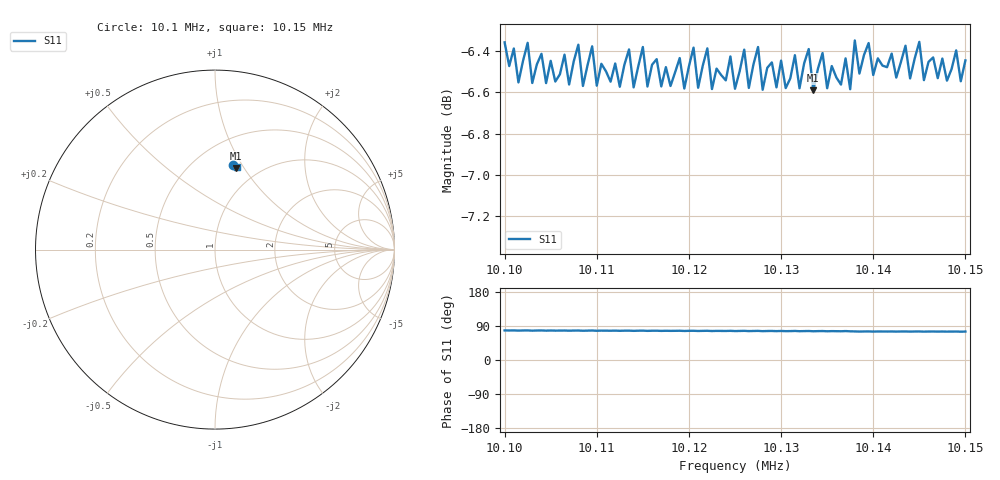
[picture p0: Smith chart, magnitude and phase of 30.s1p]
# Hz S RI R 50
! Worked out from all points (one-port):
!   101 points, 10.1 MHz to 10.15 MHz, reference 50 ohm
!   lowest |S11| = -6.6 dB at 10.1335 MHz (marker M1), VSWR 2.76, Z = 39.4 + j45.8 ohm
!   |S11| at or under -10 dB: nowhere
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1.01e7  0.0991 0.4707
1.01015e7  0.1013 0.4593
1.01025e7  0.0993 0.4705
1.0103e7  0.1023 0.4589
1.01065e7  0.1011 0.4669
1.01125e7  0.1051 0.4573
1.01135e7  0.104 0.4677
1.0114e7  0.106 0.4569
1.0115e7  0.1038 0.4684
1.01155e7  0.1065 0.457
1.0119e7  0.1057 0.4649
1.01245e7  0.1077 0.4649
1.0125e7  0.1105 0.4555
1.0126e7  0.108 0.4667
1.01265e7  0.1112 0.4555
1.01275e7  0.1091 0.4672
1.0128e7  0.1122 0.4548
1.01315e7  0.1103 0.4647
1.0132e7  0.1135 0.4549
1.0133e7  0.1117 0.466
1.01335e7  0.1144 0.4541
1.01345e7  0.1126 0.4647
1.01375e7  0.1158 0.454
1.0138e7  0.1213 0.466
1.0144e7  0.1221 0.4553
1.0145e7  0.1219 0.4655
1.01455e7  0.1229 0.4546
1.015e7  0.1231 0.46
